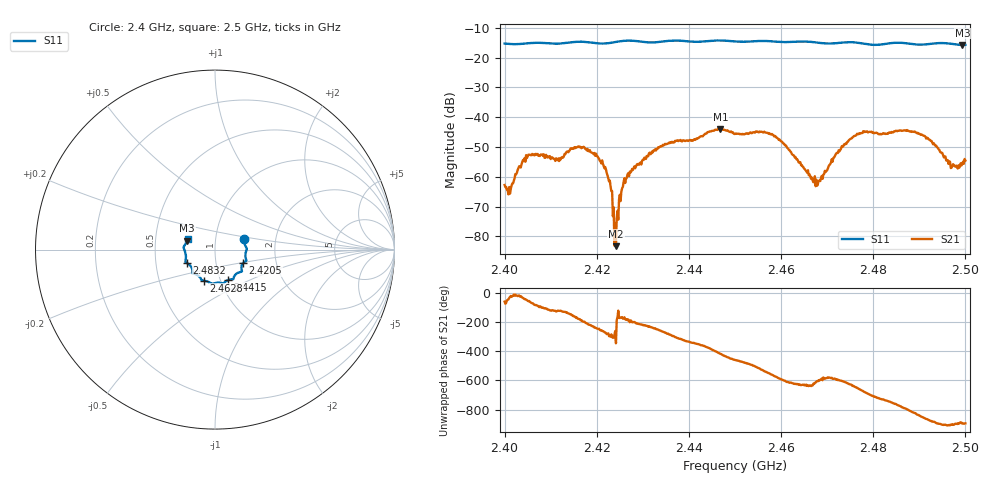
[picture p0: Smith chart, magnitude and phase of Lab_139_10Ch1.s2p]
# Hz S RI R 50
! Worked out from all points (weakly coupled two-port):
!   601 points, 2.4 GHz to 2.5 GHz, reference 50 ohm
!   highest |S21| = -43.93 dB at 2.4468 GHz (marker M1); lowest = -83.3 dB at 2.4242 GHz (marker M2)
!   lowest |S11| = -15.7 dB at 2.4993 GHz (marker M3), VSWR 1.39, Z = 36.4 + j3.68 ohm
!   |S11| at or under -10 dB: start of sweep to end of sweep
!   S12 and S22 are empty: the file has one direction only
!   S11 on the Smith chart (normalised r, x): 2.4 GHz: 1.38, +0.16; 2.4205 GHz: 1.35, -0.21; 2.4415 GHz: 1.09, -0.38; 2.4628 GHz: 0.83, -0.30; 2.4832 GHz: 0.72, -0.11; 2.5 GHz: 0.73, +0.09
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2.4e9  0.163 0.0563  0.000358 -0.000634  0 0  0 0
2.401333e9  0.1637 0.0433  0.000579 -0.000232  0 0  0 0
2.405167e9  0.174 0.0123  0.00125 -0.00198  0 0  0 0
2.416667e9  0.1741 -0.0626  -0.003 0.000382  0 0  0 0
2.4205e9  0.1555 -0.0762  -0.000797 0.00184  0 0  0 0
2.422833e9  0.1473 -0.0968  0.00033 0.0008  0 0  0 0
2.424167e9  0.1478 -0.1088  6.65e-05 1.67e-05  0 0  0 0
2.426333e9  0.1502 -0.1205  -0.00092 8.72e-05  0 0  0 0
2.433333e9  0.1079 -0.1471  -0.000911 0.00299  0 0  0 0
2.4415e9  0.0733 -0.1692  0.00424 0.000926  0 0  0 0
2.446833e9  0.0459 -0.1886  0.00335 -0.00541  0 0  0 0
2.45e9  0.0296 -0.185  -0.000944 -0.00515  0 0  0 0
2.457667e9  -0.0227 -0.1872  -0.00495 0.00149  0 0  0 0
2.462833e9  -0.0621 -0.1737  -0.000209 0.00224  0 0  0 0
2.466667e9  -0.0766 -0.1666  0.000101 0.000969  0 0  0 0
2.468e9  -0.0808 -0.159  -0.000312 0.000697  0 0  0 0
2.476167e9  -0.1261 -0.128  0.0014 0.00469  0 0  0 0
2.483167e9  -0.1552 -0.0752  0.00487 -0.00197  0 0  0 0
2.483333e9  -0.1564 -0.0745  0.00499 -0.00222  0 0  0 0
2.4895e9  -0.1619 -0.0358  -0.00225 -0.00492  0 0  0 0
2.499333e9  -0.1556 0.0492  -0.00164 -0.000229  0 0  0 0
2.5e9  -0.1532 0.0577  -0.00187 -0.000183  0 0  0 0
